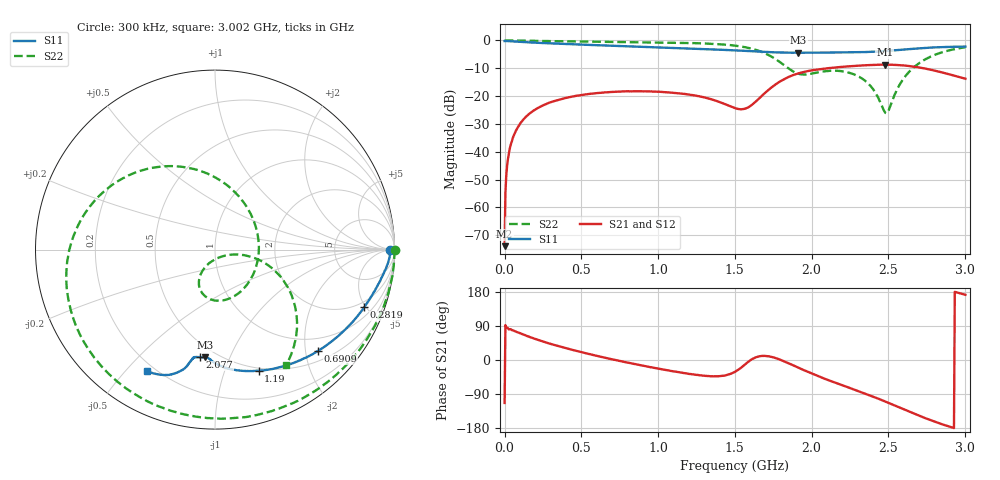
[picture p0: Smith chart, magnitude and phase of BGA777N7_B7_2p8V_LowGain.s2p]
! S-Parameter file
! MATLAB S2P writer
! (c) DICE Linz
! Infineon Technologies
! Date: 07.08.2009 12:51
!BGA777L7
!2.80V; 0.00V;
!25.00 deg
# MHZ S MA R 50
!  S11  S21  S12  S22
!  f  mag  angle  mag  angle  mag  angle  mag  angle
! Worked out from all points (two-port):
!   566 points, 300 kHz to 3.002 GHz, reference 50 ohm
!   highest |S21| = -8.70 dB at 2.476 GHz (marker M1); lowest = -74.0 dB at 300 kHz (marker M2)
!   |S21| within 3 dB of the highest: 1.923 GHz to 2.865 GHz (941.6 MHz wide, 39.3 % of centre)
!   lowest |S11| = -4.4 dB at 1.913 GHz (marker M3), VSWR 4.03, Z = 21.7 - j40.8 ohm
!   |S11| at or under -10 dB: nowhere
!   |S22| runs from -26.2 to 0.0 dB; largest |S21 - S12| = 0.0012
!   S11 on the Smith chart (normalised r, x): 300 kHz: 78, +0; 281.9 MHz: 1.56, -4.89; 690.9 MHz: 0.70, -2.26; 1.19 GHz: 0.47, -1.31; 2.077 GHz: 0.41, -0.78; 3.002 GHz: 0.17, -0.57
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0.3  0.9748 -0.0  0.0002002 -113.3  0.0003004 122.7  1 -0.2
16.23694  0.9749 -1.7  0.005432 85.1  0.005376 84.2  0.9998 -2.5
21.54925  0.9737 -2.2  0.007229 84.5  0.007439 83.8  0.9998 -3.2
53.42312  0.9622 -5.3  0.01757 78.4  0.01754 78.4  0.9985 -7.9
133.1078  0.933 -11.4  0.04083 65.6  0.04104 65.2  0.9914 -19.3
281.8526  0.8915 -21.1  0.07423 44.9  0.0742 44.5  0.9756 -39.6
504.9697  0.8416 -34.0  0.1051 20.4  0.1055 20.2  0.9556 -66.8
690.9006  0.8057 -44.5  0.1184 2.8  0.1186 2.8  0.9423 -87.5
1004.327  0.749 -61.0  0.1198 -22.8  0.1194 -23.0  0.921 -119.1
1190.258  0.7179 -70.2  0.1077 -35.9  0.1076 -35.9  0.9022 -138.3
1503.684  0.6631 -84.6  0.06044 -30.6  0.06034 -30.6  0.8054 178.3
1588.681  0.6455 -87.9  0.06297 -4.4  0.0629 -4.4  0.7347 160.4
1726.802  0.6171 -92.0  0.1345 9.3  0.1343 9.3  0.5342 119.5
1912.733  0.6021 -95.1  0.2552 -20.0  0.2552 -20.1  0.2526 20.5
2003.042  0.6032 -96.7  0.2909 -36.1  0.2911 -36.1  0.2542 -33.5
2077.414  0.6052 -98.1  0.311 -48.2  0.3108 -48.3  0.2774 -63.4
2327.093  0.6166 -101.4  0.355 -85.3  0.3549 -85.3  0.2081 -115.6
2475.838  0.6435 -102.7  0.3673 -108.8  0.3674 -108.9  0.05204 -84.8
2502.399  0.6523 -103.0  0.3669 -113.3  0.367 -113.3  0.05595 -42.1
2576.772  0.6771 -104.0  0.3593 -125.9  0.3598 -125.9  0.1662 -10.8
2677.706  0.7138 -106.8  0.3351 -143.1  0.3351 -143.3  0.3503 -19.2
3001.757  0.7758 -119.4  0.2051 172.1  0.2051 172.2  0.7546 -58.3
